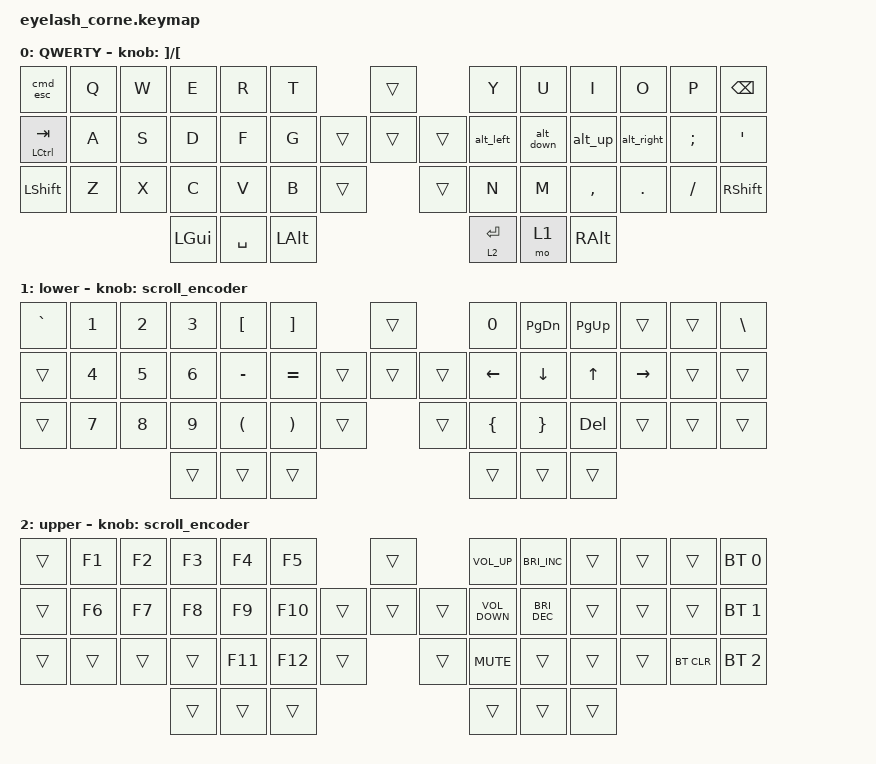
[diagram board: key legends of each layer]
#define ZMK_POINTING_DEFAULT_MOVE_VAL 1200  // 600
#define ZMK_POINTING_DEFAULT_SCRL_VAL 25   // 10

#include <input/processors.dtsi>
#include <zephyr/dt-bindings/input/input-event-codes.h>
#include <behaviors.dtsi>
#include <dt-bindings/zmk/bt.h>
#include <dt-bindings/zmk/keys.h>
#include <dt-bindings/zmk/pointing.h>
#include <dt-bindings/zmk/rgb.h>

&mmv_input_listener { input-processors = <&zip_xy_scaler 2 1>; };

&msc_input_listener { input-processors = <&zip_scroll_scaler 2 1>; };

&msc {
    acceleration-exponent = <1>;      // 0
    time-to-max-speed-ms = <100>;       // 300
    delay-ms = <0>;                   // 0
};

&mmv {
    time-to-max-speed-ms = <500>;
    acceleration-exponent = <1>;
    trigger-period-ms = <16>;
};

&soft_off { hold-time-ms = <2000>; };

/ {
    behaviors {
        alt_left: alt_left {
            compatible = "zmk,behavior-mod-morph";
            label = "ALT_LEFT";
            bindings = <&kp H>, <&kp LEFT>;

            #binding-cells = <0>;
            mods = <(MOD_RALT)>;
            keep-mods = <(MOD_RALT)>;
        };

        alt_right: alt_right {
            compatible = "zmk,behavior-mod-morph";
            label = "ALT_RIGHT";
            bindings = <&kp L>, <&kp RIGHT>;

            #binding-cells = <0>;
            mods = <(MOD_RALT)>;
            keep-mods = <(MOD_RALT)>;
        };

        alt_down: alt_down {
            compatible = "zmk,behavior-mod-morph";
            label = "ALT_DOWN";
            bindings = <&kp J>, <&kp DOWN>;

            #binding-cells = <0>;
            mods = <(MOD_RALT)>;
            keep-mods = <(MOD_RALT)>;
        };

        alt_up: alt_up {
            compatible = "zmk,behavior-mod-morph";
            label = "ALT_UP";
            bindings = <&kp K>, <&kp UP_ARROW>;

            #binding-cells = <0>;
            mods = <(MOD_RALT)>;
            keep-mods = <(MOD_RALT)>;
        };

        cmd_esc: cmd_esc {
            compatible = "zmk,behavior-mod-morph";
            label = "CMD_ESC";
            bindings = <&kp ESCAPE>, <&kp GRAVE>;

            #binding-cells = <0>;
            mods = <(MOD_LGUI)>;
            keep-mods = <(MOD_LGUI)>;
        };
    };

    rgb_encoder: rgb_encoder {
        compatible = "zmk,behavior-sensor-rotate";
        #sensor-binding-cells = <0>;
        bindings = <&rgb_ug RGB_BRI>, <&rgb_ug RGB_BRD>;
    };

    scroll_encoder: scroll_encoder {
        compatible = "zmk,behavior-sensor-rotate";
        #sensor-binding-cells = <0>;
        bindings = <&msc SCRL_DOWN>, <&msc SCRL_UP>;

        tap-ms = <100>;
    };

    combos {
        compatible = "zmk,combos";

        softoff {
            bindings = <&soft_off>;
            key-positions = <1 15 29>;
        };
    };

    keymap {
        compatible = "zmk,keymap";

        default_layer {
            display-name = "QWERTY";
            bindings = <
&cmd_esc       &kp Q  &kp W  &kp E     &kp R      &kp T                       &trans          &kp Y        &kp U      &kp I      &kp O       &kp P     &kp BSPC
&mt LCTRL TAB  &kp A  &kp S  &kp D     &kp F      &kp G               &trans  &trans  &trans  &alt_left    &alt_down  &alt_up    &alt_right  &kp SEMI  &kp SQT
&kp LSHFT      &kp Z  &kp X  &kp C     &kp V      &kp B     &trans            &trans          &kp N        &kp M      &kp COMMA  &kp DOT     &kp FSLH  &kp RIGHT_SHIFT
                             &kp LGUI  &kp SPACE  &kp LALT                                    &lt 2 ENTER  &mo 1      &kp RALT
            >;

            sensor-bindings = <&inc_dec_kp RIGHT_BRACKET LEFT_BRACKET>;
        };

        lower_layer {
            display-name = "lower";
            bindings = <
&kp GRAVE  &kp N1  &kp N2  &kp N3  &kp LEFT_BRACKET      &kp RIGHT_BRACKET                        &trans          &kp N0    &kp PAGE_DOWN  &kp PAGE_UP  &trans     &trans  &kp BACKSLASH
&trans     &kp N4  &kp N5  &kp N6  &kp MINUS             &kp EQUAL                        &trans  &trans  &trans  &kp LEFT  &kp DOWN       &kp UP       &kp RIGHT  &trans  &trans
&trans     &kp N7  &kp N8  &kp N9  &kp LEFT_PARENTHESIS  &kp RIGHT_PARENTHESIS  &trans            &trans          &kp LBRC  &kp RBRC       &kp DELETE   &trans     &trans  &trans
                           &trans  &trans                &trans                                                   &trans    &trans         &trans
            >;

            sensor-bindings = <&scroll_encoder>;
        };

        raise_layer {
            display-name = "upper";
            bindings = <
&trans  &kp F1  &kp F2  &kp F3  &kp F4   &kp F5                     &trans          &kp C_VOLUME_UP    &kp C_BRIGHTNESS_INC  &trans  &trans  &trans      &bt BT_SEL 0
&trans  &kp F6  &kp F7  &kp F8  &kp F9   &kp F10            &trans  &trans  &trans  &kp C_VOLUME_DOWN  &kp C_BRIGHTNESS_DEC  &trans  &trans  &trans      &bt BT_SEL 1
&trans  &trans  &trans  &trans  &kp F11  &kp F12  &trans            &trans          &kp K_MUTE         &trans                &trans  &trans  &bt BT_CLR  &bt BT_SEL 2
                        &trans  &trans   &trans                                     &trans             &trans                &trans
            >;

            sensor-bindings = <&scroll_encoder>;
        };
    };
};
